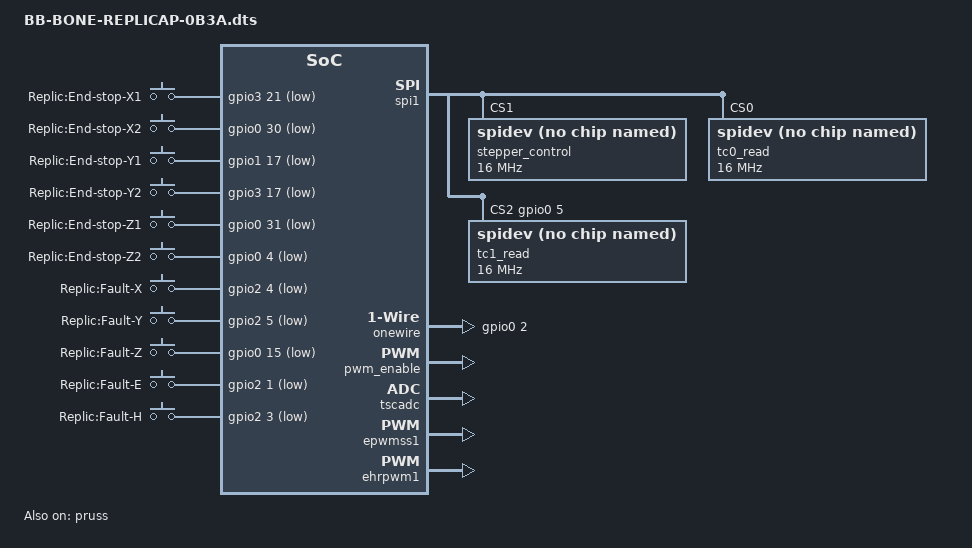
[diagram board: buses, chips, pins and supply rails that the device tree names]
/*
 * Copyright (C) 2013 Intelligent Agent AS	<elias@iagent.no>
 *
 * This program is free software; you can redistribute it and/or modify
 * it under the terms of the GNU General Public License version 2 as
 * published by the Free Software Foundation.
 */



/dts-v1/;
/plugin/;

/ {
    compatible = "ti,beaglebone", "ti,beaglebone-black";

    /* identification */
    part-number = "BB-BONE-REPLICAP";
    version = "0B3A";

    /* state the resources this cape uses */
    exclusive-use =
        /* the pin header P8 uses */
        "P8.8",  /* FAULT_EXT_2	*/
        "P8.9",  /* FAULT_Y 	*/
        "P8.10", /* FAULT_X 	*/
        "P8.11", /* STEP_H	*/
        "P8.12", /* STEP_Y      */
        "P8.13", /* STEP_Z      */
        "P8.14", /* DIR_Z       */
        "P8.15", /* DIR_E 	*/
        "P8.16", /* DIR_H 	*/
        "P8.17", /* STEP_X      */
        "P8.18", /* FAULT_E	*/
        "P8.19", /* DIR_Y       */
        "P8.26", /* DIR_X       */
        /* the pin header P9 uses */
        "P9.11", /* END_STOP_X2	*/
        "P9.12", /* STEP_E 	*/
        "P9.13", /* END_STOP_Z1	*/
        "P9.16", /* SERVO_0     */
        "P9.17", /* SPI1_CS2"   */
        "P9.18", /* SERVO_1	*/
        "P9.22", /* Dallas 1W   */
        "P9.23", /* END_STOP_Y1 */
        "P9.24", /* FAULT_Z     */
        "P9.25", /* END_STOP_X1	*/
        "P9.28", /* END_STOP_Y2	*/
        "P9.29", /* SPI1_MISO   */
        "P9.30", /* SPI1_MOSI	*/
        "P9.31", /* SPI1_SCLK	*/
        "P9.33", /* AIN4        */
        "P9.35", /* AIN6        */
        "P9.36", /* AIN5        */
        "P9.41", /* ENABLE_PWM  */
        "P9.42"; /* SPI1_CS1	*/

    fragment@0 {
        target = <&am33xx_pinmux>;
        __overlay__ {
            bone_replicape_spi1_pins: pinmux_replicape_spi1_pins {
                pinctrl-single,pins = <
                    0x190 0x33	/* P9_31 = mcasp0_aclkx.spi1_sclk				 , OUTPUT_PULLUP | MODE3 */
                    0x194 0x33	/* P9_29 = mcasp0_fsx.spi1_d0					 , INPUT_PULLUP  | MODE3 */
                    0x198 0x13	/* P9_30 = mcasp0_axr0.spi1_d1					 , OUTPUT_PULLUP | MODE3 */
                    0x164 0x12  /* P9_42 = GPIO0_7 =  eCAP0_in_PWM0_out.gpio0[7]                 , OUTPUT_PULLUP | MODE2 */
                    0x19c 0x13  /* P9_28 */
                    0x15c 0x17  /* P9_17 */
                    /* http://www.kilobaser.com/blog/2014-07-28-beaglebone-black-devicetreeoverlay-generator  */
                >;
            };					
            pruicss_stepper_pins: pinmux_pruicss_stepper_pins{
                pinctrl-single,pins = <
                    0x038 0x07 // P8_16 (3)  = DIR_H     	= GPIO1_14
                    0x03C 0x07 // P8_15 (4)  = DIR_E    	= GPIO1_15
                    0x028 0x07 // P8_14 (5)  = DIR_Z   	 	= GPIO0_26
                    0x02C 0x07 // P8_17 (6)  = STEP_X 	 	= GPIO0_27
                    0x034 0x07 // P8_11 (22) = step_H    	= GPIO1_13	
                    0x030 0x07 // P8_12 (23) = Step_y	 	= GPIO1_12
                    0x024 0x07 // P8_13 (24) = Step_z	 	= GPIO0_23
                    0x020 0x07 // P8_19 (25) = Dir_y 	 	= GPIO0_22
                    0x07C 0x07 // P8_26      = Dir_x		= GPIO1_29
                    0x078 0x07 // P9_12      = step E    	= GPIO1_28
                >;
            };		

            stepper_fault_pins: pinmux_stepper_fault_pins{
                pinctrl-single,pins = <
                    0x094 0x37 // P8_8  = FAULT H = GPIO2_3
                    0x09C 0x37 // P8_9  = FAYLT Y = GPIO2_5
                    0x098 0x37 // P8_10 = FAULT X = GPIO2_4
                    0x08C 0x37 // P8_18 = FAULT E = GPIO2_1
                    0x184 0x37 // P9_24 = FAULT Z = GPIO0_15
                >;
            };

            end_stop_pins: pinmux_end_stop_pins{
                pinctrl-single,pins = <
                    0x1AC 0x37 // P9_25 = End stop X1  = GPIO3_21
                    0x070 0x37 // P9_11 = End stop X2  = GPIO0_30
                    0x044 0x37 // P9_23 = End stop Y1  = GPIO1_17
                    0x074 0x37 // P9_13 = End stop Z1  = GPIO0_31
                    0x158 0x37 // P9_18 = End stop Z2  = GPIO0_4
		    /*0x19C 0x37 // P9_28 = End stop Y2  = GPIO3_17*/
                >;
            };
            dallas_w1_pins: pinmux_dallas_w1_pins {
                pinctrl-single,pins = <
		            0x150 0x37	// Dallas 1W
                >;
            };

            servo_pins: pinmux_servo_pins {
                pinctrl-single,pins = <
			0x048 0x36     // P9_14 = Servo 0 = GPIO1_18
                        0x04C 0x36     // P9_16 = Servo 1 = GPIO1_19
                >;
            };
        };
    };

/*Informacion sacada de*/
/*https://hk.saowen.com/a/1d61431d2cabde08c6692bf0985236a93b1a6bfe7b7e1a2a39eb6f5950fc5937*/

    fragment@1 {
        target = <&spi1>;
        __overlay__ {
            #address-cells 	= <1>;
            #size-cells 	= <0>;
            status		= "okay";
            pinctrl-names	= "default";
            pinctrl-0		= <&bone_replicape_spi1_pins>;	
            /*cs-gpios 		= <&gpio1 12 0>, <&gpio1 7 0>, <&gpio1 5 0>;*/
            cs-gpios            = <0>, <0>, <&gpio0 5 0>;
            stepper_control{
                #address-cells 	  = <1>;
                #size-cells 	  = <0>;
                compatible 	  = "spidev";
                reg 		  = <1>;
                spi-max-frequency = <16000000>;
            };
            tc0_read{
                #address-cells 	  = <1>;
                #size-cells 	  = <0>;
                compatible 	  = "spidev";
                reg 		  = <0>;
                spi-max-frequency = <16000000>;
            };
            tc1_read{
                #address-cells 	  = <1>;
                #size-cells 	  = <0>;
                compatible 	  = "spidev";
                reg 		  = <2>;
                spi-max-frequency = <16000000>;
            };
        };
    };

    fragment@2{
        target = <&pruss>;
        __overlay__{
            status = "okay";
            pinctrl-names = "default";
            pinctrl-0 	  = <&pruicss_stepper_pins>;

            stepper_x{
                pin-names 	= "Replic:pru-step_x", "Replic:pru-dir_x";		
                gpios 		= <&gpio0 27 0
		                 	   &gpio1 29 0>; 
            };			
            stepper_y{
                pin-names 	= "Replic:pru-step_y", "Replic:pru-dir_y";		
                gpios 		=<&gpio1 12 0
		                 	  &gpio0 22 0>; 
            };
            stepper_z{
                pin-names 	= "Replic:pru-step_z", "Replic:pru-dir_z";		
                gpios 		= <&gpio0 23 0
		                 	   &gpio0 26 0>; 
            };
            stepper_ext_1{
                pin-names 	= "Replic:pru-step_ext_1", "Replic:pru-dir_ext_1";		
                gpios 		= <&gpio1 28 0
		                 	   &gpio1 15 0>; 
            };
            stepper_ext_2{
                pin-names 	= "Replic:pru-step_ext_2", "Replic:pru-dir_ext_2";		
                gpios 		= <&gpio1 13 0
		                 	   &gpio1 14 0>; 
            };
        };
    };

    fragment@3 {
        target = <&ocp>;
        __overlay__ {			
            #address-cells = <1>;
            #size-cells = <1>;							

            gpio_keys {
                compatible = "gpio-keys";
                pinctrl-names = "default";
                pinctrl-0 = <&end_stop_pins>;
                pinctrl-1 = <&stepper_fault_pins>;
                #address-cells = <1>;
                #size-cells = <0>;

                switch_x1 {
                    label               = "Replic:End-stop-X1";
                    debounce_interval   = <5>;
                    linux,code          = <112>;
                    gpios               = <&gpio3 21 0x5>;
                    gpio-key,wakeup;
		    linux,can-disable;
                };				
                switch_x2 {
                    label               = "Replic:End-stop-X2";
                    debounce_interval   = <5>;
                    linux,code          = <113>;
                    gpios               = <&gpio0 30 0x5>;
                    gpio-key,wakeup;
		    linux,can-disable;
                };
                switch_y1 {
                    label               = "Replic:End-stop-Y1";
                    debounce_interval   = <5>;
                    linux,code          = <114>;
                    gpios               = <&gpio1 17 0x5>;
                    gpio-key,wakeup;
		    linux,can-disable;
                };				
                switch_y2 {
                    label               = "Replic:End-stop-Y2";
                    debounce_interval   = <5>;
                    linux,code          = <115>;
                    gpios               = <&gpio3 17 0x5>;
                    gpio-key,wakeup;
		    linux,can-disable;
                };				
                switch_z1 {
                    label               = "Replic:End-stop-Z1";
                    debounce_interval   = <5>;
                    linux,code          = <116>;
                    gpios               = <&gpio0 31 0x5>;
                    gpio-key,wakeup;
		    linux,can-disable;
                };				
                switch_z2 {
                    label               = "Replic:End-stop-Z2";
                    debounce_interval   = <50>;
                    linux,code          = <117>;
                    gpios               = <&gpio0 4 0x5>;
                    gpio-key,wakeup;
		    linux,can-disable;
                };				
                fault_x {
                    label               = "Replic:Fault-X";
                    debounce_interval   = <50>;
                    linux,code          = <90>;
                    gpios               = <&gpio2 4 0x5>;
                    gpio-key,wakeup;	
                };
                fault_y {
                    label               = "Replic:Fault-Y";
                    debounce_interval   = <50>;
                    linux,code          = <91>;
                    gpios               = <&gpio2 5 0x5>;
                    gpio-key,wakeup;	
                };
                fault_z {
                    label               = "Replic:Fault-Z";
                    debounce_interval   = <50>;
                    linux,code          = <92>;
                    gpios               = <&gpio0 15 0x5>;
                    gpio-key,wakeup;	
                };
                fault_e {
                    label               = "Replic:Fault-E";
                    debounce_interval   = <50>;
                    linux,code          = <93>;
                    gpios               = <&gpio2 1 0x5>;
                    gpio-key,wakeup;	
                };
                fault_h {
                    label               = "Replic:Fault-H";
                    debounce_interval   = <50>;
                    linux,code          = <94>;
                    gpios               = <&gpio2 3 0x5>;
                    gpio-key,wakeup;	
                };
            };
            onewire {
               compatible      = "w1-gpio";
               pinctrl-names   = "default";
               pinctrl-0       = <&dallas_w1_pins>;
               status          = "okay";
               gpios           = <&gpio0 2 0>;
            };

	    pwm_enable {
		compatible      = "bone-pinmux-helper";
                status 	        = "okay";
		pinctrl-names   = "default";
		pinctrl-0       = <&servo_pins>;
		/*pinctrl-0       = <&clkout2_pins>;*/
	    };
        };
    };

    fragment@4 {
        target = <&tscadc>;
        __overlay__ {			
            status = "okay";
            adc {
                ti,adc-channels = <2 3 4 5 6 7>;
            };
        };
    };
    
    fragment@5 {
	target = <&epwmss1>;
	__overlay__ {
	  status = "okay";
	};
    };

    fragment@6 {
        target = <&ehrpwm1>;
        __overlay__ {
          status = "okay";
        };
    };

};
